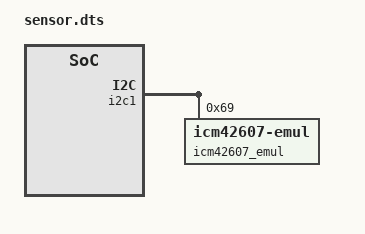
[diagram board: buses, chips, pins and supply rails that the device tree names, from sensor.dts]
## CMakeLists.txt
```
# Copyright 2023 The ChromiumOS Authors
# Use of this source code is governed by a BSD-style license that can be
# found in the LICENSE file.

# Add source files
target_sources(app PRIVATE src/icm42607.c)
```

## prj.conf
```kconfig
# Copyright 2023 The ChromiumOS Authors
# Use of this source code is governed by a BSD-style license that can be
# found in the LICENSE file.

CONFIG_PLATFORM_EC_ACCELGYRO_ICM42607=y
CONFIG_PLATFORM_EC_ACCELGYRO_ICM_COMM_I2C=y
```

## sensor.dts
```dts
/ {
	aliases {
		icm42607-int = &ms_icm42607_accel;
	};

	motionsense-mutex {
		mutex_icm42607: icm42607-mutex {
		};
	};

	motionsense-sensor-data {
		icm42607_data: icm42607-drv-data {
			compatible = "cros-ec,drvdata-icm42607";
			status = "okay";
		};
	};

	motionsense-sensor {
		ms_icm42607_accel: ms-icm42607-accel {
			compatible = "cros-ec,icm42607-accel";
			status = "okay";

			location = "MOTIONSENSE_LOC_BASE";
			mutex = <&mutex_icm42607>;
			port = <&named_i2c1>;
			drv-data = <&icm42607_data>;
			i2c-spi-addr-flags = "ICM42607_ADDR1_FLAGS";
			active-mask = "SENSOR_ACTIVE_S0_S3_S5";
			configs {
				compatible =
					"cros-ec,motionsense-sensor-config";
				ec-s0 {
					odr = <10000>;
				};
				ec-s3 {
					odr = <10000>;
				};
				ec-s5 {
					odr = <10000>;
				};
			};
		};

		ms_icm42607_gyro: ms-icm42607-gryo {
			compatible = "cros-ec,icm42607-gyro";
			status = "okay";

			location = "MOTIONSENSE_LOC_BASE";
			mutex = <&mutex_icm42607>;
			port = <&named_i2c1>;
			drv-data = <&icm42607_data>;
			i2c-spi-addr-flags = "ICM42607_ADDR1_FLAGS";
			active-mask = "SENSOR_ACTIVE_S0_S3_S5";
		};
	};
};

&i2c1 {
		icm42607_emul: icm42607@69 {
			compatible = "zephyr,icm42607-emul";
			status = "okay";
			reg = <0x69>;
		};
};

/* motionsense framework supports at most 8 sensors, remove two so we can add
 * our test target.
 */
&ms_bmi160_accel {
	status = "disabled";
};
&ms_bmi160_gyro {
	status = "disabled";
};
&ms_bmi160_accel_s0 {
	status = "disabled";
};
```

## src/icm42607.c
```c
/* Copyright 2023 The ChromiumOS Authors
 * Use of this source code is governed by a BSD-style license that can be
 * found in the LICENSE file.
 */
#include "accelgyro.h"
#include "driver/accelgyro_icm42607.h"
#include "driver/accelgyro_icm_common.h"
#include "emul/emul_icm42607.h"
#include "motion_sense.h"
#include "motion_sense_fifo.h"
#include "test/drivers/test_state.h"

#include <zephyr/kernel.h>
#include <zephyr/ztest.h>

#define ICM42607_NODE DT_NODELABEL(icm42607_emul)
#define ACC_SENSOR_ID SENSOR_ID(DT_NODELABEL(ms_icm42607_accel))
#define GYR_SENSOR_ID SENSOR_ID(DT_NODELABEL(ms_icm42607_gyro))

static const struct emul *emul = EMUL_DT_GET(ICM42607_NODE);
static struct motion_sensor_t *acc = &motion_sensors[ACC_SENSOR_ID];
static struct motion_sensor_t *gyr = &motion_sensors[GYR_SENSOR_ID];

static void icm42607_set_temp(uint16_t val)
{
	icm42607_emul_write_reg(emul, ICM42607_REG_TEMP_DATA, val >> 8);
	icm42607_emul_write_reg(emul, ICM42607_REG_TEMP_DATA + 1, val & 0xFF);
}

static bool check_sensor_enabled(enum motionsensor_type type)
{
	int reg = icm42607_emul_peek_reg(emul, ICM42607_REG_PWR_MGMT0);

	if (type == MOTIONSENSE_TYPE_ACCEL) {
		int mode = reg & 3;

		return mode == 2;
	} else if (type == MOTIONSENSE_TYPE_GYRO) {
		int mode = (reg >> 2) & 3;

		return mode == 3;
	}

	return false;
}

static void icm42607_push_packet(const int16_t *acc, const int16_t *gyr)
{
	uint8_t buf[16];
	int packet_size = 0;

	if (acc && gyr) {
		buf[0] = BIT(6) | BIT(5); /* acc + gyr */
		memcpy(buf + 1, acc, 6);
		memcpy(buf + 7, gyr, 6);
		packet_size = 16;
	} else if (acc) {
		buf[0] = BIT(6); /* acc */
		memcpy(buf + 1, acc, 6);
		packet_size = 8;
	} else if (gyr) {
		buf[0] = BIT(5); /* gyr */
		memcpy(buf + 1, gyr, 6);
		packet_size = 8;
	}

	icm42607_emul_write_reg(emul, ICM42607_REG_INT_STATUS, BIT(2));
	icm42607_emul_push_fifo(emul, buf, packet_size);
}

static int motion_sense_fifo_pop(int *sensor_num, int16_t *data)
{
	struct ec_response_motion_sensor_data resp = {};
	uint16_t resp_size;

	while (motion_sense_fifo_read(sizeof(resp), 1, &resp, &resp_size)) {
		if (resp.flags & MOTIONSENSE_SENSOR_FLAG_TIMESTAMP) {
			continue;
		}

		*sensor_num = resp.sensor_num;
		memcpy(data, resp.data, sizeof(resp.data));

		return 0;
	}

	return -1;
}

static void test_fifo(const int16_t *acc_expected, const int16_t *gyr_expected)
{
	int sensor_num = -1;
	int16_t data[3] = {};

	motion_sense_fifo_reset();
	acc->oversampling_ratio = 1;
	gyr->oversampling_ratio = 1;

	icm42607_push_packet(acc_expected, gyr_expected);
	icm42607_interrupt(0);
	k_sleep(K_SECONDS(1));

	if (acc_expected) {
		zassert_equal(motion_sense_fifo_pop(&sensor_num, data), 0);
		zassert_equal(sensor_num, ACC_SENSOR_ID);
		zassert_equal(acc_expected[0], data[0]);
		zassert_equal(acc_expected[1], data[1]);
		zassert_equal(acc_expected[2], data[2]);
	}

	if (gyr_expected) {
		zassert_equal(motion_sense_fifo_pop(&sensor_num, data), 0);
		zassert_equal(sensor_num, GYR_SENSOR_ID);
		zassert_equal(gyr_expected[0], data[0]);
		zassert_equal(gyr_expected[1], data[1]);
		zassert_equal(gyr_expected[2], data[2]);
	}
}

/* verify that icm42607 driver returns error when too many data in fifo */
ZTEST_USER(icm42607, test_fifo_full)
{
	const uint8_t junk[512] = {};
	int sensor_num = -1;
	int16_t data[3] = {};

	icm42607_push_packet((int16_t[]){ -32768, -32768, -32768 }, NULL);
	icm42607_emul_push_fifo(emul, junk, sizeof(junk));
	icm42607_interrupt(0);
	k_sleep(K_SECONDS(1));

	zassert_not_equal(motion_sense_fifo_pop(&sensor_num, data), 0);
}

ZTEST_USER(icm42607, test_invalid_packet)
{
	const uint8_t junk[16] = {
		0x80,
	}; /* bad packet header */
	int sensor_num = -1;
	int16_t data[3] = {};

	icm42607_emul_push_fifo(emul, junk, sizeof(junk));
	icm42607_interrupt(0);
	k_sleep(K_SECONDS(1));

	zassert_not_equal(motion_sense_fifo_pop(&sensor_num, data), 0);
}

/* verify that icm42607 driver doesn't send bad data to motionsense fifo */
ZTEST_USER(icm42607, test_invalid_sensor_data)
{
	int sensor_num = -1;
	int16_t data[3] = {};

	icm42607_push_packet((int16_t[]){ -32768, -32768, -32768 }, NULL);
	icm42607_interrupt(0);
	k_sleep(K_SECONDS(1));

	zassert_not_equal(motion_sense_fifo_pop(&sensor_num, data), 0);
}

ZTEST_USER(icm42607, test_fifo_read)
{
	/* 2 sensor packet */
	test_fifo((int16_t[]){ 1111, 2222, 3333 },
		  (int16_t[]){ 4444, 5555, 6666 });

	/* acc only */
	test_fifo((int16_t[]){ 1111, 2222, 3333 }, NULL);

	/* gyr only */
	test_fifo(NULL, (int16_t[]){ 4444, 5555, 6666 });
}

ZTEST_USER(icm42607, test_resolution)
{
	zassert_equal(acc->drv->get_resolution(acc), 16);
}

/* verify that set_data_rate enables or disables the sensor */
ZTEST_USER(icm42607, test_sensor_enable)
{
	zassert_false(check_sensor_enabled(MOTIONSENSE_TYPE_ACCEL));
	zassert_false(check_sensor_enabled(MOTIONSENSE_TYPE_GYRO));

	zassert_ok(acc->drv->set_data_rate(acc, 12500, 1));
	zassert_true(check_sensor_enabled(MOTIONSENSE_TYPE_ACCEL));
	zassert_false(check_sensor_enabled(MOTIONSENSE_TYPE_GYRO));

	zassert_ok(acc->drv->set_data_rate(gyr, 12500, 1));
	zassert_true(check_sensor_enabled(MOTIONSENSE_TYPE_ACCEL));
	zassert_true(check_sensor_enabled(MOTIONSENSE_TYPE_GYRO));

	zassert_ok(acc->drv->set_data_rate(gyr, 0, 1));
	zassert_true(check_sensor_enabled(MOTIONSENSE_TYPE_ACCEL));
	zassert_false(check_sensor_enabled(MOTIONSENSE_TYPE_GYRO));

	zassert_ok(acc->drv->set_data_rate(acc, 0, 1));
	zassert_false(check_sensor_enabled(MOTIONSENSE_TYPE_ACCEL));
	zassert_false(check_sensor_enabled(MOTIONSENSE_TYPE_GYRO));
}

ZTEST_USER(icm42607, test_data_rate)
{
	zassert_ok(acc->drv->set_data_rate(acc, 12500, 1));
	zassert_equal(acc->drv->get_data_rate(acc), 12500);
	zassert_equal(icm42607_emul_peek_reg(emul, ICM42607_REG_ACCEL_CONFIG0) &
			      0xF,
		      0xC);

	/* 24Hz should round up to 25Hz */
	zassert_ok(gyr->drv->set_data_rate(gyr, 24000, 1));
	zassert_equal(gyr->drv->get_data_rate(gyr), 25000);
	zassert_equal(icm42607_emul_peek_reg(emul, ICM42607_REG_GYRO_CONFIG0) &
			      0xF,
		      0xB);

	/* return error if data rate is out of supported range */
	zassert_not_equal(gyr->drv->set_data_rate(gyr, 6250, 0), 0);
	zassert_not_equal(acc->drv->set_data_rate(acc, 1600000, 0), 0);
}

ZTEST_USER(icm42607, test_offset_out_of_range)
{
	int16_t acc_offset[3];
	int16_t acc_offset_input[3] = { 10000, -10000, 0 };
	int16_t acc_temp;

	zassert_ok(acc->drv->init(acc));

	zassert_ok(acc->drv->set_offset(acc, acc_offset_input, 40));
	zassert_ok(acc->drv->get_offset(acc, acc_offset, &acc_temp));

	/* icm42607 internally stores offset in 12bit signed integer,
	 * input is clamped into range [2047, -2048], and then scaled to
	 * ec unit, so the result is [1023.5, -1024] => [1024, -1024]
	 */
	zassert_equal(acc_offset[0], 1024);
	zassert_equal(acc_offset[1], -1024, "got %d", acc_offset[1]);
	zassert_equal(acc_offset[2], 0);
	zassert_equal(acc_temp, EC_MOTION_SENSE_INVALID_CALIB_TEMP);
}

ZTEST_USER(icm42607, test_offset)
{
	int16_t acc_offset[3], gyr_offset[3];
	/* use multiplies of 32 to avoid rounding error */
	int16_t acc_offset_expected[3] = { 32, 32 * 2, 32 * 3 };
	int16_t gyr_offset_expected[3] = { 32 * 4, 32 * 5, 32 * 6 };
	int16_t acc_temp, gyr_temp;

	zassert_ok(acc->drv->init(acc));
	zassert_ok(gyr->drv->init(gyr));

	zassert_ok(acc->drv->set_offset(acc, acc_offset_expected, 40));
	zassert_ok(gyr->drv->set_offset(gyr, gyr_offset_expected, 80));
	zassert_ok(acc->drv->get_offset(acc, acc_offset, &acc_temp));
	zassert_ok(gyr->drv->get_offset(gyr, gyr_offset, &gyr_temp));

	zassert_equal(acc_offset[0], acc_offset_expected[0]);
	zassert_equal(acc_offset[1], acc_offset_expected[1]);
	zassert_equal(acc_offset[2], acc_offset_expected[2]);
	zassert_equal(acc_temp, EC_MOTION_SENSE_INVALID_CALIB_TEMP);
	zassert_equal(gyr_offset[0], gyr_offset_expected[0]);
	zassert_equal(gyr_offset[1], gyr_offset_expected[1]);
	zassert_equal(gyr_offset[2], gyr_offset_expected[2]);
	zassert_equal(gyr_temp, EC_MOTION_SENSE_INVALID_CALIB_TEMP);
}

ZTEST_USER(icm42607, test_scale)
{
	uint16_t acc_scale[3], gyr_scale[3];
	int16_t acc_temp, gyr_temp;

	zassert_ok(acc->drv->init(acc));
	zassert_ok(gyr->drv->init(gyr));

	zassert_ok(acc->drv->set_scale(acc, (uint16_t[3]){ 1, 2, 3 }, 4));
	zassert_ok(gyr->drv->set_scale(gyr, (uint16_t[3]){ 5, 6, 7 }, 8));
	zassert_ok(gyr->drv->get_scale(acc, acc_scale, &acc_temp));
	zassert_ok(gyr->drv->get_scale(gyr, gyr_scale, &gyr_temp));

	zassert_equal(acc_scale[0], 1);
	zassert_equal(acc_scale[1], 2);
	zassert_equal(acc_scale[2], 3);
	zassert_equal(acc_temp, EC_MOTION_SENSE_INVALID_CALIB_TEMP);
	zassert_equal(gyr_scale[0], 5);
	zassert_equal(gyr_scale[1], 6);
	zassert_equal(gyr_scale[2], 7);
	zassert_equal(gyr_temp, EC_MOTION_SENSE_INVALID_CALIB_TEMP);
}

ZTEST_USER(icm42607, test_invalid_read)
{
	intv3_t v;

	zassert_ok(acc->drv->init(acc));
	zassert_ok(gyr->drv->init(gyr));

	icm42607_emul_write_reg(emul, ICM42607_REG_ACCEL_DATA_XYZ, 0x00);
	icm42607_emul_write_reg(emul, ICM42607_REG_ACCEL_DATA_XYZ + 1, 0x80);
	icm42607_emul_write_reg(emul, ICM42607_REG_ACCEL_DATA_XYZ + 2, 0x00);
	icm42607_emul_write_reg(emul, ICM42607_REG_ACCEL_DATA_XYZ + 3, 0x80);
	icm42607_emul_write_reg(emul, ICM42607_REG_ACCEL_DATA_XYZ + 4, 0x00);
	icm42607_emul_write_reg(emul, ICM42607_REG_ACCEL_DATA_XYZ + 5, 0x80);

	/* return cached value (raw_xyz) on invalid data */
	zassert_ok(acc->drv->read(acc, v));
	zassert_equal(v[0], 0);
	zassert_equal(v[1], 0);
	zassert_equal(v[2], 0);
}

/* verify that read() works correctly, and scale is applied */
ZTEST_USER(icm42607, test_read)
{
	intv3_t v;
	const uint16_t scale[3] = { 16384, 16384, 16384 }; /* 0.5x scale */

	zassert_ok(acc->drv->init(acc));
	zassert_ok(gyr->drv->init(gyr));

	/* verify that sensor data format is configured to little endian */
	int intf_config0 =
		icm42607_emul_peek_reg(emul, ICM42607_REG_INTF_CONFIG0);
	zassert_equal(intf_config0 & ICM42607_SENSOR_DATA_ENDIAN, 0);
	zassert_ok(acc->drv->set_scale(acc, scale, 0));

	/* test accel read, 16bit LE */
	icm42607_emul_write_reg(emul, ICM42607_REG_ACCEL_DATA_XYZ, 0x01);
	icm42607_emul_write_reg(emul, ICM42607_REG_ACCEL_DATA_XYZ + 1, 0x02);
	icm42607_emul_write_reg(emul, ICM42607_REG_ACCEL_DATA_XYZ + 2, 0x03);
	icm42607_emul_write_reg(emul, ICM42607_REG_ACCEL_DATA_XYZ + 3, 0x04);
	icm42607_emul_write_reg(emul, ICM42607_REG_ACCEL_DATA_XYZ + 4, 0x05);
	icm42607_emul_write_reg(emul, ICM42607_REG_ACCEL_DATA_XYZ + 5, 0x06);

	zassert_ok(acc->drv->read(acc, v));
	zassert_equal(v[0], 0x0201 / 2);
	zassert_equal(v[1], 0x0403 / 2);
	zassert_equal(v[2], 0x0605 / 2);

	/* test gyro read, 16bit LE */
	icm42607_emul_write_reg(emul, ICM42607_REG_GYRO_DATA_XYZ, 0x0A);
	icm42607_emul_write_reg(emul, ICM42607_REG_GYRO_DATA_XYZ + 1, 0x0B);
	icm42607_emul_write_reg(emul, ICM42607_REG_GYRO_DATA_XYZ + 2, 0x0C);
	icm42607_emul_write_reg(emul, ICM42607_REG_GYRO_DATA_XYZ + 3, 0x0D);
	icm42607_emul_write_reg(emul, ICM42607_REG_GYRO_DATA_XYZ + 4, 0x0E);
	icm42607_emul_write_reg(emul, ICM42607_REG_GYRO_DATA_XYZ + 5, 0x0F);

	zassert_ok(gyr->drv->read(gyr, v));
	zassert_equal(v[0], 0x0B0A);
	zassert_equal(v[1], 0x0D0C);
	zassert_equal(v[2], 0x0F0E);
}

/* read() immediately after sensor enabled should fail */
ZTEST_USER(icm42607, test_read_not_stabilized)
{
	intv3_t v;

	zassert_ok(acc->drv->set_data_rate(acc, 0, 1));
	zassert_ok(acc->drv->set_data_rate(acc, 10000, 1));
	zassert_not_equal(acc->drv->read(acc, v), 0);

	k_sleep(K_SECONDS(1));
	zassert_equal(acc->drv->read(acc, v), 0);
}

ZTEST_USER(icm42607, test_set_range)
{
	int reg_val;

	/* set 5G, round down to 4G, expect reg val = 2 */
	zassert_ok(acc->drv->set_range(acc, 5, 0));
	reg_val = (icm42607_emul_peek_reg(emul, ICM42607_REG_ACCEL_CONFIG0) >>
		   5) &
		  3;
	zassert_equal(reg_val, 2);

	/* set 5G, round up to 8G, expect reg val = 1 */
	zassert_ok(acc->drv->set_range(acc, 5, 1));
	reg_val = (icm42607_emul_peek_reg(emul, ICM42607_REG_ACCEL_CONFIG0) >>
		   5) &
		  3;
	zassert_equal(reg_val, 1);

	/* set 1500dps, round down to 1000dps, expect reg val = 1 */
	zassert_ok(gyr->drv->set_range(gyr, 1500, 0));
	reg_val =
		(icm42607_emul_peek_reg(emul, ICM42607_REG_GYRO_CONFIG0) >> 5) &
		3;
	zassert_equal(reg_val, 1);

	/* set 1500dps, round down to 2000dps, expect reg val = 0 */
	zassert_ok(gyr->drv->set_range(gyr, 1500, 1));
	reg_val =
		(icm42607_emul_peek_reg(emul, ICM42607_REG_GYRO_CONFIG0) >> 5) &
		3;
	zassert_equal(reg_val, 0);
}

/* Verify the temperature matches following formula:
 * Temperature in C = (REG_DATA / 128) + 25
 */
ZTEST_USER(icm42607, test_read_temp)
{
	int temp;

	/* expect 0C = 273.15K */
	icm42607_set_temp(-25 * 128);
	zassert_ok(acc->drv->read_temp(acc, &temp));
	zassert_equal(temp, 273);

	/* expect 100C = 373.15K */
	icm42607_set_temp(75 * 128);
	zassert_ok(acc->drv->read_temp(acc, &temp));
	zassert_equal(temp, 373);

	/* expect 25C = 298K */
	icm42607_set_temp(0);
	zassert_ok(acc->drv->read_temp(acc, &temp));
	zassert_equal(temp, 298);

	/* reset value */
	icm42607_set_temp(-32768);
	zassert_not_equal(acc->drv->read_temp(acc, &temp), 0);
}

ZTEST_USER(icm42607, test_init)
{
	struct i2c_common_emul_data *common_data =
		emul_icm42607_get_i2c_common_data(emul);

	icm42607_emul_write_reg(emul, ICM42607_REG_WHO_AM_I,
				ICM42607_CHIP_ICM42607P);
	zassert_ok(acc->drv->init(acc));

	icm42607_emul_write_reg(emul, ICM42607_REG_WHO_AM_I, 0x87);
	zassert_not_equal(acc->drv->init(acc), 0);

	i2c_common_emul_set_read_fail_reg(common_data, ICM42607_REG_WHO_AM_I);
	zassert_not_equal(acc->drv->init(acc), 0);
}

static void icm42607_before(void *fixture)
{
	struct i2c_common_emul_data *common_data =
		emul_icm42607_get_i2c_common_data(emul);

	ARG_UNUSED(fixture);

	i2c_common_emul_set_read_fail_reg(common_data,
					  I2C_COMMON_EMUL_NO_FAIL_REG);
	icm42607_emul_reset(emul);
	icm_reset_stabilize_ts(acc);
	icm_reset_stabilize_ts(gyr);
	memset(acc->raw_xyz, 0, sizeof(intv3_t));
	memset(gyr->raw_xyz, 0, sizeof(intv3_t));
	motion_sense_fifo_reset();
	acc->oversampling_ratio = 1;
	gyr->oversampling_ratio = 1;
}

ZTEST_SUITE(icm42607, drivers_predicate_post_main, NULL, icm42607_before, NULL,
	    NULL);
```
